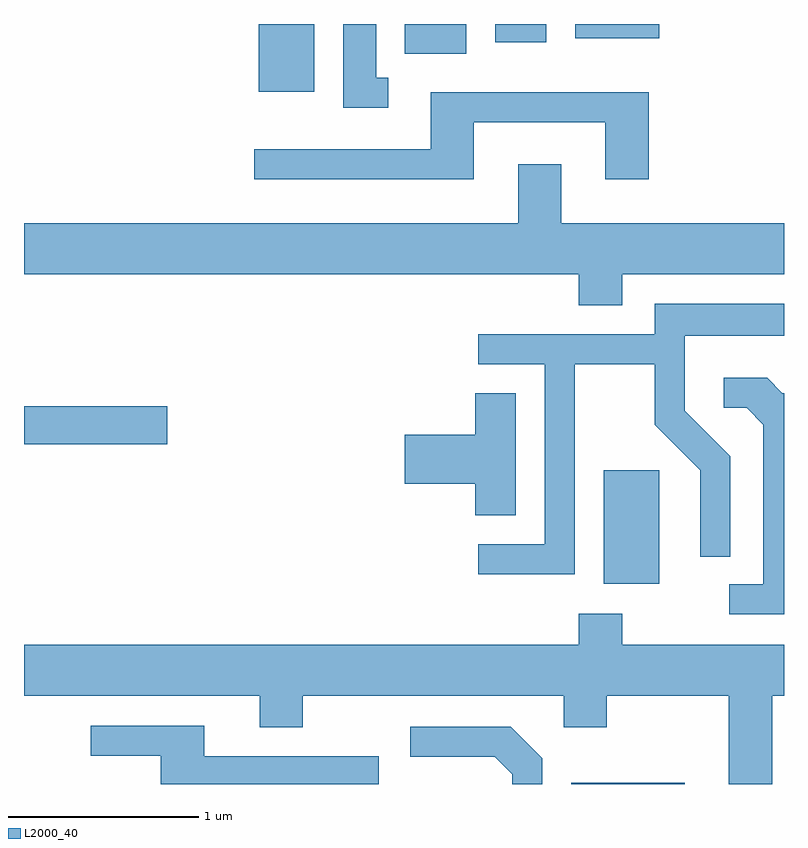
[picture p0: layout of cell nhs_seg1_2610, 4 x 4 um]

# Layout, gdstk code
import gdstk
lib = gdstk.Library(unit=1e-6, precision=1e-09)
def R(c, l, rs):  # rectangles x0, y0, x1, y1
    for r in rs: c.add(gdstk.rectangle(r[:2], r[2:], *l))
def P(c, l, *ps):  # polygons
    for p in ps: c.add(gdstk.Polygon(p, *l))
L2000_40 = (2000, 40)

nhs_seg1_2610 = lib.new_cell('nhs_seg1_2610')
R(nhs_seg1_2610, L2000_40, [(266.491,965.712,267.089,965.719), (266.661,966.766,266.954,967.364), (263.611,967.501,264.364,967.699), (264.846,969.356,265.139,969.712), (265.616,969.556,265.939,969.712), (266.091,969.616,266.359,969.712), (266.511,969.636,266.954,969.712)])
P(nhs_seg1_2610, L2000_40, [(265.528,969.429),(265.464,969.429),(265.464,969.712),(265.291,969.712),(265.291,969.271),(265.528,969.271)],
  [(265.979,969.196),(266.671,969.196),(266.671,968.896),(266.899,968.896),(266.899,969.354),(265.751,969.354),(265.751,969.054),(264.823,969.054),(264.823,968.896),(265.979,968.896)],
  [(266.759,968.396),(267.611,968.396),(267.611,968.664),(266.439,968.664),(266.439,968.974),(266.211,968.974),(266.211,968.664),(263.611,968.664),(263.611,968.396),(266.531,968.396),(266.531,968.231),(266.759,968.231)],
  [(266.509,967.921),(266.931,967.921),(266.931,967.604),(267.171,967.364),(267.171,966.908),(267.329,966.908),(267.329,967.437),(267.089,967.677),(267.089,968.071),(267.611,968.071),(267.611,968.239),(266.931,968.239),(266.931,968.079),(266.003,968.079),(266.003,967.921),(266.351,967.921),(266.351,966.974),(266.003,966.974),(266.003,966.816),(266.509,966.816)],
  [(267.611,967.769),(267.602,967.769),(267.522,967.849),(267.293,967.849),(267.293,967.691),(267.414,967.691),(267.501,967.604),(267.501,966.764),(267.323,966.764),(267.323,966.606),(267.611,966.606)],
  [(266.199,967.769),(265.986,967.769),(265.986,967.549),(265.616,967.549),(265.616,967.291),(265.986,967.291),(265.986,967.126),(266.199,967.126)],
  [(267.549,966.176),(267.611,966.176),(267.611,966.444),(266.759,966.444),(266.759,966.609),(266.531,966.609),(266.531,966.444),(263.611,966.444),(263.611,966.176),(264.851,966.176),(264.851,966.011),(265.079,966.011),(265.079,966.176),(266.451,966.176),(266.451,966.011),(266.679,966.011),(266.679,966.176),(267.321,966.176),(267.321,965.712),(267.549,965.712)],
  [(265.479,965.859),(264.559,965.859),(264.559,966.019),(263.963,966.019),(263.963,965.861),(264.331,965.861),(264.331,965.712),(265.479,965.712)],
  [(266.339,965.847),(266.172,966.014),(265.643,966.014),(265.643,965.856),(266.089,965.856),(266.181,965.764),(266.181,965.712),(266.339,965.712)])

lib.write_gds('nhs_seg1_2610.gds')
